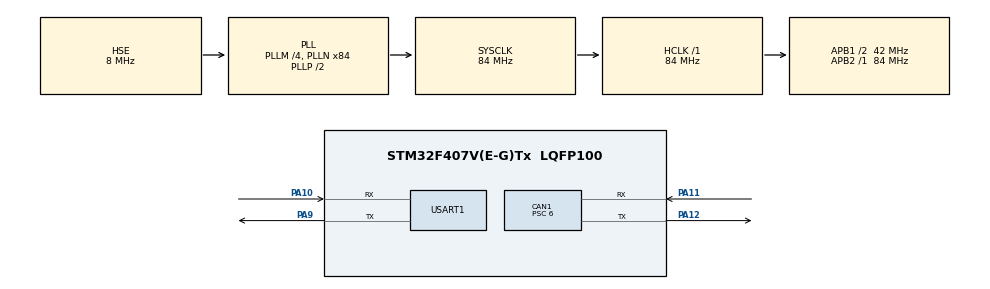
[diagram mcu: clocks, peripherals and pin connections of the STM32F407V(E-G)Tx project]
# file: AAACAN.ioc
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CAN1.ABOM=ENABLE
CAN1.BS1=CAN_BS1_10TQ
CAN1.BS2=CAN_BS2_3TQ
CAN1.CalculateBaudRate=500000
CAN1.CalculateTimeBit=2000
CAN1.CalculateTimeQuantum=142.85714285714286
CAN1.NART=ENABLE
CAN1.Prescaler=6
Mcu.Family=STM32F4
Mcu.Name=STM32F407V(E-G)Tx
Mcu.Package=LQFP100
NVIC.CAN1_RX0_IRQn=true\:0\:0\:false\:false\:true\:true\:true\:true
NVIC.PriorityGroup=NVIC_PRIORITYGROUP_4
NVIC.USART1_IRQn=true\:0\:0\:false\:false\:true\:true\:true\:true
PA10.Mode=Asynchronous
PA10.Signal=USART1_RX
PA11.Mode=CAN_Activate
PA11.Signal=CAN1_RX
PA12.Mode=CAN_Activate
PA12.Signal=CAN1_TX
PA9.Mode=Asynchronous
PA9.Signal=USART1_TX
PH0-OSC_IN.Mode=HSE-External-Oscillator
PH0-OSC_IN.Signal=RCC_OSC_IN
PH1-OSC_OUT.Mode=HSE-External-Oscillator
PH1-OSC_OUT.Signal=RCC_OSC_OUT
ProjectManager.HeapSize=0x200
ProjectManager.StackSize=0x400
ProjectManager.TargetToolchain=CMake
RCC.48MHZClocksFreq_Value=42000000
RCC.AHBFreq_Value=84000000
RCC.APB1CLKDivider=RCC_HCLK_DIV2
RCC.APB1Freq_Value=42000000
RCC.APB1TimFreq_Value=84000000
RCC.APB2Freq_Value=84000000
RCC.APB2TimFreq_Value=84000000
RCC.CortexFreq_Value=84000000
RCC.HCLKFreq_Value=84000000
RCC.HSE_VALUE=8000000
RCC.HSI_VALUE=16000000
RCC.LSE_VALUE=32768
RCC.PLLM=4
RCC.PLLN=84
RCC.PLLSourceVirtual=RCC_PLLSOURCE_HSE
RCC.SYSCLKFreq_VALUE=84000000
RCC.SYSCLKSource=RCC_SYSCLKSOURCE_PLLCLK
RCC.VCOOutputFreq_Value=168000000
USART1.VirtualMode=VM_ASYNC
board=custom

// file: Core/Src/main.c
/* USER CODE BEGIN Header */
/**
  ******************************************************************************
  * @file           : main.c
  * @brief          : Main program body
  ******************************************************************************
  * @attention
  *
  * Copyright (c) 2026 STMicroelectronics.
  * All rights reserved.
  *
  * This software is licensed under terms that can be found in the LICENSE file
  * in the root directory of this software component.
  * If no LICENSE file comes with this software, it is provided AS-IS.
  *
  ******************************************************************************
  */
/* USER CODE END Header */
#include "main.h"
#include "can.h"
#include "usart.h"
#include "gpio.h"

/* USER CODE BEGIN Includes */
#include "stdio.h"
/* USER CODE END Includes */

void SystemClock_Config(void);
/* USER CODE BEGIN PFP */
void CAN_Send_StdFrame(void);
/* USER CODE END PFP */

int main(void)
{

  /* MCU Configuration--------------------------------------------------------*/

  /* Reset of all peripherals, Initializes the Flash interface and the Systick. */
  HAL_Init();

  /* Configure the system clock */
  SystemClock_Config();

  /* Initialize all configured peripherals */
  MX_GPIO_Init();
  MX_CAN1_Init();
  MX_USART1_UART_Init();
  /* USER CODE BEGIN 2 */
	int ret = HAL_CAN_Start(&hcan1);
if(ret != HAL_OK)
{
    // ????
    printf("HAL_CAN_Start fail, ret=%d, ErrorCode=0x%08X\r\n", ret, hcan1.ErrorCode);
}
  /* USER CODE END 2 */

  /* Infinite loop */
  while (1)
  {
//aaaaaaaaaaaaaaaaaaaaaaaaaaaa
//bbbbbbbbbbbbbdddddddddddddddd
  }
}

void SystemClock_Config(void)
{
  RCC_OscInitTypeDef RCC_OscInitStruct = {0};
  RCC_ClkInitTypeDef RCC_ClkInitStruct = {0};

  /** Configure the main internal regulator output voltage
  */
  __HAL_RCC_PWR_CLK_ENABLE();
  __HAL_PWR_VOLTAGESCALING_CONFIG(PWR_REGULATOR_VOLTAGE_SCALE1);

  /** Initializes the RCC Oscillators according to the specified parameters
  * in the RCC_OscInitTypeDef structure.
  */
  RCC_OscInitStruct.OscillatorType = RCC_OSCILLATORTYPE_HSE;
  RCC_OscInitStruct.HSEState = RCC_HSE_ON;
  RCC_OscInitStruct.PLL.PLLState = RCC_PLL_ON;
  RCC_OscInitStruct.PLL.PLLSource = RCC_PLLSOURCE_HSE;
  RCC_OscInitStruct.PLL.PLLM = 4;
  RCC_OscInitStruct.PLL.PLLN = 84;
  RCC_OscInitStruct.PLL.PLLP = RCC_PLLP_DIV2;
  RCC_OscInitStruct.PLL.PLLQ = 4;
  if (HAL_RCC_OscConfig(&RCC_OscInitStruct) != HAL_OK)
  {
    Error_Handler();
  }

  /** Initializes the CPU, AHB and APB buses clocks
  */
  RCC_ClkInitStruct.ClockType = RCC_CLOCKTYPE_HCLK|RCC_CLOCKTYPE_SYSCLK
                              |RCC_CLOCKTYPE_PCLK1|RCC_CLOCKTYPE_PCLK2;
  RCC_ClkInitStruct.SYSCLKSource = RCC_SYSCLKSOURCE_PLLCLK;
  RCC_ClkInitStruct.AHBCLKDivider = RCC_SYSCLK_DIV1;
  RCC_ClkInitStruct.APB1CLKDivider = RCC_HCLK_DIV2;
  RCC_ClkInitStruct.APB2CLKDivider = RCC_HCLK_DIV1;

  if (HAL_RCC_ClockConfig(&RCC_ClkInitStruct, FLASH_LATENCY_2) != HAL_OK)
  {
    Error_Handler();
  }
}

/* USER CODE BEGIN 4 */
int fputc(int ch, FILE *f)
{
    // HAL???1??,huart1?????????
    HAL_UART_Transmit(&huart1, (uint8_t *)&ch, 1, 0xFFFF);
    return ch;
}

void CAN_Send_StdFrame(void)
{
    CAN_TxHeaderTypeDef tx_header;
    uint8_t tx_data[8] = {0x11,0x22,0x33,0x44,0x55,0x66,0x77,0x88};
    uint32_t tx_mailbox;   // ???????????

    // ????:??ID=0x123,???,??8
    tx_header.StdId = 0x123;
    tx_header.IDE   = CAN_ID_STD;
    tx_header.RTR   = CAN_RTR_DATA;
    tx_header.DLC   = 8;
    tx_header.TransmitGlobalTime = DISABLE;

    // ??????
    if(HAL_CAN_AddTxMessage(&hcan1, &tx_header, tx_data, &tx_mailbox) == HAL_OK)
    {
        printf("OK, mb=%lu\r\n", (unsigned long)tx_mailbox);
    }
    else
    {
        printf("failed, ErrorCode=0x%08X, TSR=0x%08X\r\n", (unsigned int)hcan1.ErrorCode, (unsigned int)hcan1.Instance->TSR);
    }
}
/* USER CODE END 4 */

void Error_Handler(void)
{
  __disable_irq();
  while (1)
  {
  }
}
